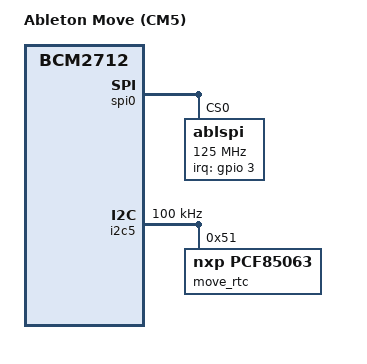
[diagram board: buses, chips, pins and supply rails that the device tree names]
// SPDX-License-Identifier: GPL-2.0-or-later
/*
 * ablspi-move-cm5.dts - Device-tree overlay porting the Ableton Move's
 * CM4-era custom bindings forward to Raspberry Pi Compute Module 5 (BCM2712 + RP1).
 *
 * On CM5 the carrier-facing GPIO/SPI/I²C peripherals live on the RP1
 * southbridge (PCIe-attached), not on the BCM2712 SoC. The Pi firmware
 * and upstream rpi linux already expose RP1 controllers under stable DT
 * labels and pre-canned pinctrl groups, so the overlay reduces to:
 *
 *   1. &spi0 -> RP1 spi0 (/axi/pcie@.../rp1/spi@50000). CS0 is wired
 *      to physical SODIMM GPIO 8 in the base DTB's cs-gpios, matching
 *      CM4 BCM2711 spi0 — i.e. the XMOS is on the same physical CS pin
 *      and the ablspi-dkms driver binds cleanly via compatible="ablspi".
 *      &gpio -> RP1 gpio bank (/axi/pcie@.../rp1/gpio@d0000); the
 *      ablspi IRQ on physical GPIO 3 resolves to the same SODIMM pin
 *      as on CM4, so irq-gpios = <&gpio 3 0> is correct unchanged.
 *
 *   2. &spi0 chip-select 1 stays disabled.
 *
 *   3. PCF85063 RTC on the Move carrier's SODIMM GPIO 44/45 pins. On
 *      CM5/RP1 the 44/45 pin pair's I²C alt-function is i2c5 (not the
 *      BCM2711-era i2c0 the CM4 overlay uses). RP1 ships a pre-built
 *      pinctrl group `rp1_i2c5_44_45` with function="i2c5",
 *      pins="gpio44","gpio45", drive-strength=12mA, bias-pull-up — drop
 *      it in and we're done; no manual pin mux required.
 *
 * dwc2 / USB-OTG: not configured here. On CM5 the BCM2712-side USB
 * controller at /axi/usb@480000 is dwc2-compatible (compat string
 * "brcm,bcm2835-usb", status=disabled by default), and the stock
 * dwc2.dtbo's __fixups__ target the &usb label correctly. So
 * `dtoverlay=dwc2,dr_mode=otg` in /boot/firmware/config.txt does the
 * right thing on CM5. The Armbian/family default of dr_mode=host in the
 * [cm5] block must be stripped first (move-bringup.postinst + the
 * Armbian board hook handle that, mirroring the existing CM4
 * otg_mode=1 strip).
 *
 * Build:   dtc -@ -I dts -O dtb -o ablspi-move-cm5.dtbo ablspi-move-cm5.dts
 * Install: copy to /boot/firmware/overlays/ then add
 *              dtoverlay=ablspi-move-cm5
 *          to /boot/firmware/config.txt under [cm5]. Override examples:
 *              dtoverlay=ablspi-move-cm5,ablspi_max_hz=20000000
 */

/dts-v1/;
/plugin/;

/ {
	compatible = "raspberrypi,5-compute-module", "brcm,bcm2712";

	fragment@0 {
		target-path = "/";
		__overlay__ {
			compatible = "ableton,move", "raspberrypi,5-compute-module",
				     "brcm,bcm2712";
			model = "Ableton Move (CM5)";
		};
	};

	/*
	 * SPI0 (RP1): ablspi on CS0, nothing on CS1. We delete the upstream
	 * spidev children the base DTB attaches so our ablspi binding wins
	 * regardless of overlay load order.
	 */
	fragment@1 {
		target = <&spi0>;
		__overlay__ {
			#address-cells = <1>;
			#size-cells = <0>;
			status = "okay";

			/delete-node/ spidev@0;
			/delete-node/ spidev@1;

			ablspi: ablspi@0 {
				compatible = "ablspi";
				reg = <0>;
				spi-max-frequency = <125000000>;

				/*
				 * Modern descriptor-based GPIO binding. &gpio
				 * resolves to RP1's gpio controller; GPIO 3
				 * is the same physical SODIMM pin as on CM4.
				 * See ablspi-move-cm4.dts for the bare-int vs
				 * descriptor rationale.
				 */
				irq-gpios = <&gpio 3 0>;
			};

			ablspi_cs1: spidev@1 {
				compatible = "spidev";
				reg = <1>;
				spi-max-frequency = <125000000>;
				status = "disabled";
			};
		};
	};

	/*
	 * PCF85063 RTC on RP1 i2c5 routed to GPIO 44/45 via the upstream
	 * `rp1_i2c5_44_45` pinctrl group (function="i2c5", pins=44+45,
	 * drive-strength=12mA, bias-pull-up — pre-canned in the CM5 base
	 * DTB, no manual mux required). The RTC reads the BCM2711 carrier's
	 * 44/45 pin pair on CM4 via BSC0; on CM5/RP1 those same physical
	 * pins are reached via designware i2c5 instead. PCB-side: same two
	 * traces, same chip, same address.
	 */
	fragment@2 {
		target = <&i2c5>;
		__overlay__ {
			#address-cells = <1>;
			#size-cells = <0>;
			status = "okay";
			pinctrl-names = "default";
			pinctrl-0 = <&rp1_i2c5_44_45>;
			clock-frequency = <100000>;

			move_rtc: rtc@51 {
				compatible = "nxp,pcf85063";
				reg = <0x51>;
				status = "okay";
			};
		};
	};

	__overrides__ {
		ablspi_max_hz = <&ablspi>,"spi-max-frequency:0";
		rtc_addr      = <&move_rtc>,"reg:0";
	};
};
